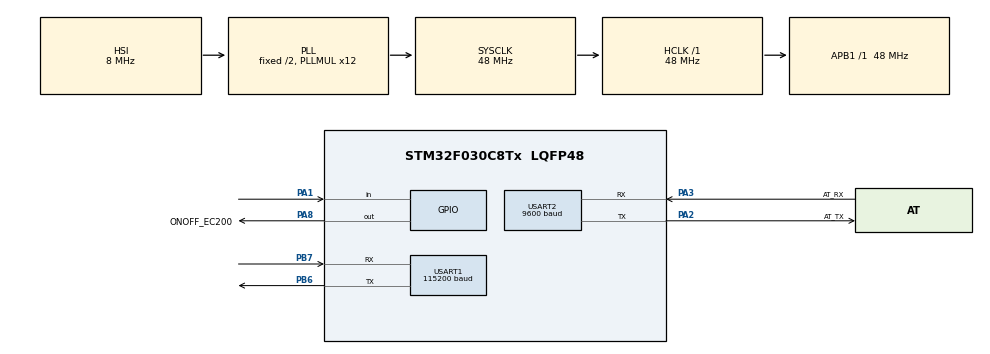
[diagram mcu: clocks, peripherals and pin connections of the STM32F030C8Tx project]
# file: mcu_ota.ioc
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Dma.Request0=USART1_RX
Dma.Request1=USART2_RX
Dma.USART1_RX.0.Direction=DMA_PERIPH_TO_MEMORY
Dma.USART1_RX.0.Instance=DMA1_Channel3
Dma.USART1_RX.0.MemDataAlignment=DMA_MDATAALIGN_BYTE
Dma.USART1_RX.0.MemInc=DMA_MINC_ENABLE
Dma.USART1_RX.0.Mode=DMA_NORMAL
Dma.USART1_RX.0.PeriphDataAlignment=DMA_PDATAALIGN_BYTE
Dma.USART1_RX.0.PeriphInc=DMA_PINC_DISABLE
Dma.USART1_RX.0.Priority=DMA_PRIORITY_LOW
Dma.USART2_RX.1.Direction=DMA_PERIPH_TO_MEMORY
Dma.USART2_RX.1.Instance=DMA1_Channel5
Dma.USART2_RX.1.MemDataAlignment=DMA_MDATAALIGN_BYTE
Dma.USART2_RX.1.MemInc=DMA_MINC_ENABLE
Dma.USART2_RX.1.Mode=DMA_NORMAL
Dma.USART2_RX.1.PeriphDataAlignment=DMA_PDATAALIGN_BYTE
Dma.USART2_RX.1.PeriphInc=DMA_PINC_DISABLE
Dma.USART2_RX.1.Priority=DMA_PRIORITY_LOW
IWDG.Prescaler=IWDG_PRESCALER_256
Mcu.Family=STM32F0
Mcu.Name=STM32F030C8Tx
Mcu.Package=LQFP48
NVIC.USART1_IRQn=true\:0\:0\:false\:true\:true\:1\:true\:true
PA1.Signal=GPIO_Input
PA13.Mode=Serial_Wire
PA13.Signal=SYS_SWDIO
PA14.Mode=Serial_Wire
PA14.Signal=SYS_SWCLK
PA2.GPIO_Label=AT_TX
PA2.Mode=Asynchronous
PA2.Signal=USART2_TX
PA3.GPIO_Label=AT_RX
PA3.Mode=Asynchronous
PA3.Signal=USART2_RX
PA8.GPIO_Label=ONOFF_EC200
PA8.Signal=GPIO_Output
PB6.Mode=Asynchronous
PB6.Signal=USART1_TX
PB7.Mode=Asynchronous
PB7.Signal=USART1_RX
ProjectManager.HeapSize=0x200
ProjectManager.StackSize=0x400
ProjectManager.TargetToolchain=SW4STM32
RCC.AHBFreq_Value=48000000
RCC.APB1Freq_Value=48000000
RCC.APB1TimFreq_Value=48000000
RCC.HCLKFreq_Value=48000000
RCC.PLLMUL=RCC_PLL_MUL12
RCC.SYSCLKFreq_VALUE=48000000
RCC.SYSCLKSource=RCC_SYSCLKSOURCE_PLLCLK
USART1.BaudRate=115200
USART1.VirtualMode-Asynchronous=VM_ASYNC
USART2.BaudRate=9600
USART2.VirtualMode-Asynchronous=VM_ASYNC
VP_IWDG_VS_IWDG.Mode=IWDG_Activate
board=custom

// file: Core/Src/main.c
/* USER CODE BEGIN Header */
/**
  ******************************************************************************
  * @file           : main.c
  * @brief          : Main program body
  ******************************************************************************
  * @attention
  *
  * <h2><center>&copy; Copyright (c) 2022 STMicroelectronics.
  * All rights reserved.</center></h2>
  *
  * This software component is licensed by ST under BSD 3-Clause license,
  * the "License"; You may not use this file except in compliance with the
  * License. You may obtain a copy of the License at:
  *                        opensource.org/licenses/BSD-3-Clause
  *
  ******************************************************************************
  */
/* USER CODE END Header */
#include "main.h"
#include "dma.h"
#include "iwdg.h"
#include "usart.h"
#include "gpio.h"

/* USER CODE BEGIN Includes */
#include "stdio.h"
#include "string.h"
#include "stdlib.h"
#include "stm_flash.h"
#include "ftp.h"
#include "bsp_iap.h"
#include "md5.h"
/* USER CODE END Includes */

/* USER CODE BEGIN PTD */
//寄存器版本
#ifdef __GNUC__
#define PUTCHAR_PROTOTYPE int __io_putchar(int ch)
#else
#define PUTCHAR_PROTOTYPE int fputc(int ch, FILE *f)
#endif

PUTCHAR_PROTOTYPE {
    HAL_UART_Transmit(&huart2, (uint8_t *) &ch, 1, 0xffff);
    return ch;
}

/******************************************************************************
  * @函数名称:   CloseIQHard
  * @函数说明   :IAP 关掉中断以及硬件外设
******************************************************************************/
void CloseIQHard(void) {
    SysTick->CTRL = 0;
    SysTick->LOAD = 0;
    SysTick->VAL = 0;
    __disable_irq();   // 关闭总中断
    //关中断
}
/* USER CODE END PTD */

/* USER CODE BEGIN PD */
enum {
    OTA_INIT = 0,
    OTA_CONFIG,
    OTA_LOGIN,
    OTA_DOWNLOAD,
    OTA_CHECK,
    OTA_WRITE,
    OTA_JUMP,
} OTA_STATUS;//注意，如果升级后程序跑不正常，重刷机
/* USER CODE END PD */

void SystemClock_Config(void);
static void MX_NVIC_Init(void);

int main(void)
{
  /* USER CODE BEGIN 1 */
    int i = 0;
    static uint8_t restartCount = 0;
    static uint8_t errorCount = 0;
    static uint8_t openCount = 0;//开机失败次数加1
  /* USER CODE END 1 */

  /* MCU Configuration--------------------------------------------------------*/

  /* Reset of all peripherals, Initializes the Flash interface and the Systick. */
  HAL_Init();

  /* Configure the system clock */
  SystemClock_Config();

  /* Initialize all configured peripherals */
  MX_GPIO_Init();
  MX_DMA_Init();
  MX_USART1_UART_Init();
  MX_USART2_UART_Init();
  MX_IWDG_Init();

  /* Initialize interrupts */
  MX_NVIC_Init();
  /* USER CODE BEGIN 2 */
    __HAL_UART_ENABLE_IT(&huart1, UART_IT_IDLE);
    HAL_UART_Receive_DMA(&huart1, lteRxBuf, LTE_USART_REC_LEN);//防止分段

    printf("boot loder\r\n");
    HAL_Delay(200);
  /* USER CODE END 2 */

  /* Infinite loop */
  /* USER CODE BEGIN WHILE */

    get_app_infomation(&mcuOtaData);
    if (mcuOtaData.upDataFlag == 1) {
        printf("ota begin\r\n");
        OTA_STATUS = OTA_INIT;
    } else {
        printf("no ota\r\n");
        OTA_STATUS = OTA_JUMP;
    }

    while (1) {
    /* USER CODE END WHILE */

    /* USER CODE BEGIN 3 */
        //异常处理机制
        if (openCount > 3) {
            openCount = 0;
            OTA_STATUS = OTA_JUMP;//没电进入app程序,等待升级
        }

        if (restartCount > 3) {
            restartCount = 0;
            OTA_STATUS = OTA_JUMP;//升级失败，直接跳转
        }

        if (errorCount > 3) {
            errorCount = 0;
            //是否需要关机？
            ++restartCount;//重启次数加1
            ftpserver_logout();
            ModuleClose();
            HAL_Delay(5000);
            OTA_STATUS = OTA_INIT;
        }

        switch (OTA_STATUS) {
            case OTA_INIT:
                if (MQTTClient_init() == 0) {
                    OTA_STATUS = OTA_CONFIG;
                } else {
                    openCount++;//没电时可能频繁开机失败
                }
                break;
            case OTA_CONFIG:
                if (ftpserver_config(&mcuOtaData) == 0) {
                    printf("config ok\r\n");
                    OTA_STATUS = OTA_LOGIN;
                } else {
                    errorCount++;
                }
                break;
            case OTA_LOGIN:
                if (ftpserver_login(&mcuOtaData) == 0) {
                    printf("login ok\r\n");
                    OTA_STATUS = OTA_DOWNLOAD;
                } else {
                    errorCount++;
                }
                break;

            case OTA_DOWNLOAD:
                if (downloadAndWrite() == 0) {
                    printf("download ok\r\n");
                    OTA_STATUS = OTA_CHECK;
                } else {
                    errorCount++;
                }
                break;
            case OTA_CHECK:
                if(getMd5AndCmp((unsigned char *)FLASH_FileAddress,mcuFileData.app_size,decrypt)==0){
                    OTA_STATUS = OTA_WRITE;
                }else {
                    for(i=0;i<16;i++)//md5校验结果计算
                    {
                       printf("%x\r\n",decrypt[i]);
                    }
                    errorCount++;
                }
                break;
            case OTA_WRITE:
							__disable_irq();
                STMFLASH_Write(FLASH_AppAddress, (uint16_t *) FLASH_FileAddress, mcuFileData.app_size/2+mcuFileData.app_size%2);
						__enable_irq();
                OTA_STATUS = OTA_JUMP;
                if(getMd5AndCmp((unsigned char *)FLASH_AppAddress,mcuFileData.app_size,decrypt)==0){
                    printf("check again!!!\r\n");
                }
                ftpserver_logout();
                break;
                //再次校验加入
            case OTA_JUMP:
								__disable_irq();
                HAL_DeInit();
                HAL_UART_MspDeInit(&huart1);
                HAL_UART_MspDeInit(&huart2);
                IAP_ExecuteApp(FLASH_AppAddress);
                break;
            default:
                break;
        }
        HAL_IWDG_Refresh(&hiwdg);
    }
  /* USER CODE END 3 */
}

void SystemClock_Config(void)
{
  RCC_OscInitTypeDef RCC_OscInitStruct = {0};
  RCC_ClkInitTypeDef RCC_ClkInitStruct = {0};
  RCC_PeriphCLKInitTypeDef PeriphClkInit = {0};

  /** Initializes the RCC Oscillators according to the specified parameters
  * in the RCC_OscInitTypeDef structure.
  */
  RCC_OscInitStruct.OscillatorType = RCC_OSCILLATORTYPE_HSI|RCC_OSCILLATORTYPE_LSI;
  RCC_OscInitStruct.HSIState = RCC_HSI_ON;
  RCC_OscInitStruct.HSICalibrationValue = RCC_HSICALIBRATION_DEFAULT;
  RCC_OscInitStruct.LSIState = RCC_LSI_ON;
  RCC_OscInitStruct.PLL.PLLState = RCC_PLL_ON;
  RCC_OscInitStruct.PLL.PLLSource = RCC_PLLSOURCE_HSI;
  RCC_OscInitStruct.PLL.PLLMUL = RCC_PLL_MUL12;
  RCC_OscInitStruct.PLL.PREDIV = RCC_PREDIV_DIV1;
  if (HAL_RCC_OscConfig(&RCC_OscInitStruct) != HAL_OK)
  {
    Error_Handler();
  }
  /** Initializes the CPU, AHB and APB buses clocks
  */
  RCC_ClkInitStruct.ClockType = RCC_CLOCKTYPE_HCLK|RCC_CLOCKTYPE_SYSCLK
                              |RCC_CLOCKTYPE_PCLK1;
  RCC_ClkInitStruct.SYSCLKSource = RCC_SYSCLKSOURCE_PLLCLK;
  RCC_ClkInitStruct.AHBCLKDivider = RCC_SYSCLK_DIV1;
  RCC_ClkInitStruct.APB1CLKDivider = RCC_HCLK_DIV1;

  if (HAL_RCC_ClockConfig(&RCC_ClkInitStruct, FLASH_LATENCY_1) != HAL_OK)
  {
    Error_Handler();
  }
  PeriphClkInit.PeriphClockSelection = RCC_PERIPHCLK_USART1;
  PeriphClkInit.Usart1ClockSelection = RCC_USART1CLKSOURCE_PCLK1;
  if (HAL_RCCEx_PeriphCLKConfig(&PeriphClkInit) != HAL_OK)
  {
    Error_Handler();
  }
}

/**
  * @brief NVIC Configuration.
  * @retval None
  */
static void MX_NVIC_Init(void)
{
  /* USART1_IRQn interrupt configuration */
  HAL_NVIC_SetPriority(USART1_IRQn, 0, 0);
  HAL_NVIC_EnableIRQ(USART1_IRQn);
}

void Error_Handler(void)
{
}

/************************ (C) COPYRIGHT STMicroelectronics *****END OF FILE****/
